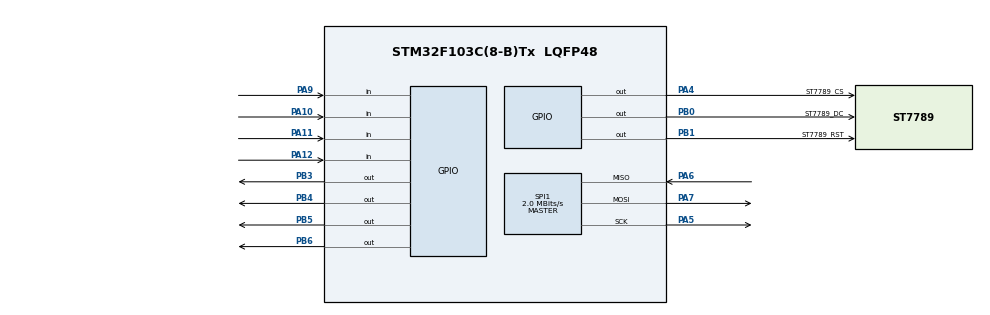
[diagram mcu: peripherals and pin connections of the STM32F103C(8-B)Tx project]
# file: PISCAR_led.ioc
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Mcu.Family=STM32F1
Mcu.Name=STM32F103C(8-B)Tx
Mcu.Package=LQFP48
NVIC.PriorityGroup=NVIC_PRIORITYGROUP_4
PA10.GPIO_PuPd=GPIO_PULLUP
PA10.Signal=GPIO_Input
PA11.GPIO_PuPd=GPIO_PULLUP
PA11.Signal=GPIO_Input
PA12.GPIO_PuPd=GPIO_PULLUP
PA12.Signal=GPIO_Input
PA13.Mode=Serial_Wire
PA13.Signal=SYS_JTMS-SWDIO
PA14.Mode=Serial_Wire
PA14.Signal=SYS_JTCK-SWCLK
PA4.GPIO_Label=ST7789_CS
PA4.Signal=GPIO_Output
PA5.Mode=Full_Duplex_Master
PA5.Signal=SPI1_SCK
PA6.Mode=Full_Duplex_Master
PA6.Signal=SPI1_MISO
PA7.Mode=Full_Duplex_Master
PA7.Signal=SPI1_MOSI
PA9.GPIO_PuPd=GPIO_PULLUP
PA9.Signal=GPIO_Input
PB0.GPIO_Label=ST7789_DC
PB0.Signal=GPIO_Output
PB1.GPIO_Label=ST7789_RST
PB1.Signal=GPIO_Output
PB3.Signal=GPIO_Output
PB4.Signal=GPIO_Output
PB5.Signal=GPIO_Output
PB6.Signal=GPIO_Output
ProjectManager.HeapSize=0x200
ProjectManager.StackSize=0x400
ProjectManager.TargetToolchain=STM32CubeIDE
RCC.APB1Freq_Value=8000000
RCC.APB2Freq_Value=8000000
SPI1.BaudRatePrescaler=SPI_BAUDRATEPRESCALER_4
SPI1.CLKPolarity=SPI_POLARITY_HIGH
SPI1.CalculateBaudRate=2.0 MBits/s
SPI1.Direction=SPI_DIRECTION_2LINES
SPI1.Mode=SPI_MODE_MASTER
SPI1.VirtualType=VM_MASTER
board=custom

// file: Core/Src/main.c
/* USER CODE BEGIN Header */
/**
  ******************************************************************************
  * @file           : main.c
  * @brief          : Main program body
  ******************************************************************************
  * @attention
  *
  * <h2><center>&copy; Copyright (c) 2024 STMicroelectronics.
  * All rights reserved.</center></h2>
  *
  * This software component is licensed by ST under BSD 3-Clause license,
  * the "License"; You may not use this file except in compliance with the
  * License. You may obtain a copy of the License at:
  *                        opensource.org/licenses/BSD-3-Clause
  *
  ******************************************************************************
  */
/* USER CODE END Header */
#include "main.h"
#include <stdio.h>
#include <stdbool.h>

/* USER CODE BEGIN Includes */
#include "st7789\st7789.h"
/* USER CODE END Includes */

/* USER CODE BEGIN PD */
// aqui define os pinos
#define WHITE   0xFFFF
#define BLACK   0x0000

#define button_1  HAL_GPIO_ReadPin(GPIOA,GPIO_PIN_9)
#define button_2  HAL_GPIO_ReadPin(GPIOA,GPIO_PIN_10)
#define button_3  HAL_GPIO_ReadPin(GPIOA,GPIO_PIN_11)
#define button_4  HAL_GPIO_ReadPin(GPIOA,GPIO_PIN_12)*

/* USER CODE END PD */

SPI_HandleTypeDef hspi1;

/* USER CODE BEGIN PV */
bool continuar = true;
/* USER CODE END PV */

void SystemClock_Config(void);
static void MX_GPIO_Init(void);
static void MX_SPI1_Init(void);

int main(void)
{

  /* MCU Configuration--------------------------------------------------------*/

  /* Reset of all peripherals, Initializes the Flash interface and the Systick. */
  HAL_Init();

  /* Configure the system clock */
  SystemClock_Config();

  /* Initialize all configured peripherals */
  MX_GPIO_Init();
  MX_SPI1_Init();
  /* USER CODE BEGIN 2 */
  ST7789_Init();
  /* USER CODE END 2 */

  /* Infinite loop */
  while (1)
  {

    /* USER CODE BEGIN 3 */

	      bool continuar = true;
	      while (continuar) {

	    	          ST7789_WriteString(90, 50, "Menu ", Font_16x26, WHITE, BLACK);
	    	          ST7789_WriteString(10, 100, "1 - Iniciar jogo", Font_16x26, WHITE, BLACK);
	    	          ST7789_WriteString(10, 140, "2 - Mudar velocidade", Font_16x26, WHITE, BLACK);
	    	          ST7789_WriteString(10, 180, "3 - Ver pontuacao", Font_16x26, WHITE, BLACK);
	    	      }

  }

  /* USER CODE END 3 */
}

void SystemClock_Config(void)
{
  RCC_OscInitTypeDef RCC_OscInitStruct = {0};
  RCC_ClkInitTypeDef RCC_ClkInitStruct = {0};

  /** Initializes the RCC Oscillators according to the specified parameters
  * in the RCC_OscInitTypeDef structure.
  */
  RCC_OscInitStruct.OscillatorType = RCC_OSCILLATORTYPE_HSI;
  RCC_OscInitStruct.HSIState = RCC_HSI_ON;
  RCC_OscInitStruct.HSICalibrationValue = RCC_HSICALIBRATION_DEFAULT;
  RCC_OscInitStruct.PLL.PLLState = RCC_PLL_NONE;
  if (HAL_RCC_OscConfig(&RCC_OscInitStruct) != HAL_OK)
  {
    Error_Handler();
  }
  /** Initializes the CPU, AHB and APB buses clocks
  */
  RCC_ClkInitStruct.ClockType = RCC_CLOCKTYPE_HCLK|RCC_CLOCKTYPE_SYSCLK
                              |RCC_CLOCKTYPE_PCLK1|RCC_CLOCKTYPE_PCLK2;
  RCC_ClkInitStruct.SYSCLKSource = RCC_SYSCLKSOURCE_HSI;
  RCC_ClkInitStruct.AHBCLKDivider = RCC_SYSCLK_DIV1;
  RCC_ClkInitStruct.APB1CLKDivider = RCC_HCLK_DIV1;
  RCC_ClkInitStruct.APB2CLKDivider = RCC_HCLK_DIV1;

  if (HAL_RCC_ClockConfig(&RCC_ClkInitStruct, FLASH_LATENCY_0) != HAL_OK)
  {
    Error_Handler();
  }
}

static void MX_SPI1_Init(void)
{

  /* SPI1 parameter configuration*/
  hspi1.Instance = SPI1;
  hspi1.Init.Mode = SPI_MODE_MASTER;
  hspi1.Init.Direction = SPI_DIRECTION_2LINES;
  hspi1.Init.DataSize = SPI_DATASIZE_8BIT;
  hspi1.Init.CLKPolarity = SPI_POLARITY_HIGH;
  hspi1.Init.CLKPhase = SPI_PHASE_1EDGE;
  hspi1.Init.NSS = SPI_NSS_SOFT;
  hspi1.Init.BaudRatePrescaler = SPI_BAUDRATEPRESCALER_4;
  hspi1.Init.FirstBit = SPI_FIRSTBIT_MSB;
  hspi1.Init.TIMode = SPI_TIMODE_DISABLE;
  hspi1.Init.CRCCalculation = SPI_CRCCALCULATION_DISABLE;
  hspi1.Init.CRCPolynomial = 10;
  if (HAL_SPI_Init(&hspi1) != HAL_OK)
  {
    Error_Handler();
  }

}

static void MX_GPIO_Init(void)
{
  GPIO_InitTypeDef GPIO_InitStruct = {0};

  /* GPIO Ports Clock Enable */
  __HAL_RCC_GPIOA_CLK_ENABLE();
  __HAL_RCC_GPIOB_CLK_ENABLE();

  /*Configure GPIO pin Output Level */
  HAL_GPIO_WritePin(ST7789_CS_GPIO_Port, ST7789_CS_Pin, GPIO_PIN_RESET);

  /*Configure GPIO pin Output Level */
  HAL_GPIO_WritePin(GPIOB, ST7789_DC_Pin|ST7789_RST_Pin|GPIO_PIN_3|GPIO_PIN_4
                          |GPIO_PIN_5|GPIO_PIN_6, GPIO_PIN_RESET);

  /*Configure GPIO pin : ST7789_CS_Pin */
  GPIO_InitStruct.Pin = ST7789_CS_Pin;
  GPIO_InitStruct.Mode = GPIO_MODE_OUTPUT_PP;
  GPIO_InitStruct.Pull = GPIO_NOPULL;
  GPIO_InitStruct.Speed = GPIO_SPEED_FREQ_LOW;
  HAL_GPIO_Init(ST7789_CS_GPIO_Port, &GPIO_InitStruct);

  /*Configure GPIO pins : ST7789_DC_Pin ST7789_RST_Pin PB3 PB4
                           PB5 PB6 */
  GPIO_InitStruct.Pin = ST7789_DC_Pin|ST7789_RST_Pin|GPIO_PIN_3|GPIO_PIN_4
                          |GPIO_PIN_5|GPIO_PIN_6;
  GPIO_InitStruct.Mode = GPIO_MODE_OUTPUT_PP;
  GPIO_InitStruct.Pull = GPIO_NOPULL;
  GPIO_InitStruct.Speed = GPIO_SPEED_FREQ_LOW;
  HAL_GPIO_Init(GPIOB, &GPIO_InitStruct);

  /*Configure GPIO pins : PA9 PA10 PA11 PA12 */
  GPIO_InitStruct.Pin = GPIO_PIN_9|GPIO_PIN_10|GPIO_PIN_11|GPIO_PIN_12;
  GPIO_InitStruct.Mode = GPIO_MODE_INPUT;
  GPIO_InitStruct.Pull = GPIO_PULLUP;
  HAL_GPIO_Init(GPIOA, &GPIO_InitStruct);

}

void Error_Handler(void)
{
  __disable_irq();
  while (1)
  {
  }
 }

/************************ (C) COPYRIGHT STMicroelectronics *****END OF FILE****/
